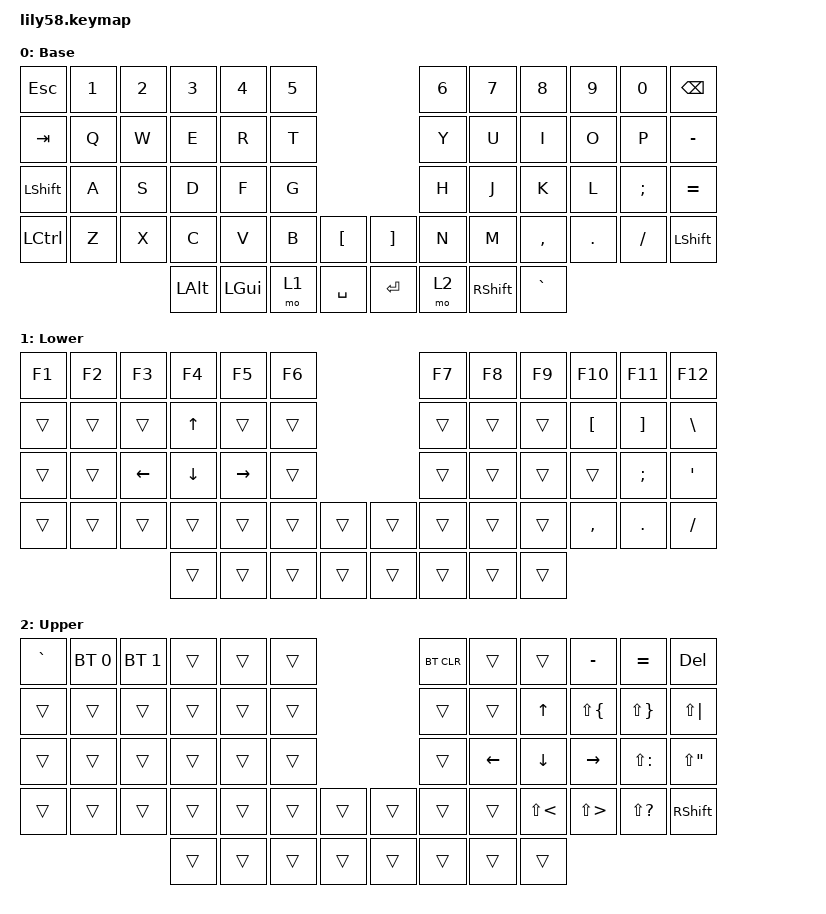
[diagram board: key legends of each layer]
/*
 * Copyright (c) 2020 The ZMK Contributors
 *
 * SPDX-License-Identifier: MIT
 */

#include <behaviors.dtsi>
#include <dt-bindings/zmk/bt.h>
#include <dt-bindings/zmk/keys.h>

/ {
    keymap {
        compatible = "zmk,keymap";

        default_layer {
            // ------------------------------------------------------------------------------------------------------------
            // |  ESC  |  1  |  2  |  3   |  4   |  5   |                   |  6   |  7    |  8    |  9   |   0   |   `   |
            // |  TAB  |  Q  |  W  |  E   |  R   |  T   |                   |  Y   |  U    |  I    |  O   |   P   |   -   |
            // |  CTRL |  A  |  S  |  D   |  F   |  G   |                   |  H   |  J    |  K    |  L   |   ;   |   '   |
            // | SHIFT |  Z  |  X  |  C   |  V   |  B   |   "["  |  |  "]"  |  N   |  M    |  ,    |  .   |   /   | SHIFT |
            //                     | ALT  | GUI  | LOWER|  SPACE |  | ENTER | RAISE| BSPC  | GUI   |

            display-name = "Base";
            bindings = <
&kp ESC     &kp N1  &kp N2  &kp N3    &kp N4    &kp N5                          &kp N6  &kp N7      &kp N8     &kp N9   &kp N0    &kp BACKSPACE
&kp TAB     &kp Q   &kp W   &kp E     &kp R     &kp T                           &kp Y   &kp U       &kp I      &kp O    &kp P     &kp MINUS
&kp LSHIFT  &kp A   &kp S   &kp D     &kp F     &kp G                           &kp H   &kp J       &kp K      &kp L    &kp SEMI  &kp EQUAL
&kp LCTRL   &kp Z   &kp X   &kp C     &kp V     &kp B   &kp LBKT     &kp RBKT   &kp N   &kp M       &kp COMMA  &kp DOT  &kp FSLH  &kp LSHIFT
                            &kp LALT  &kp LGUI  &mo 1   &kp SPACE    &kp ENTER  &mo 2   &kp RSHIFT  &kp GRAVE
            >;
        };

        lower_layer {
            // ------------------------------------------------------------------------------------------------------------
            // | BTCLR | BT1 | BT2 |  BT3 |  BT4 |  BT5 |                   |      |       |       |      |       |       |
            // |  F1   |  F2 |  F3 |  F4  |  F5  |  F6  |                   |  F7  |  F8   |  F9   |  F10 |  F11  |  F12  |
            // |   `   |  !  |  @  |  #   |  $   |  %   |                   |  ^   |  &    |  *    |  (   |   )   |   ~   |
            // |       |     |     |      |      |      |        |  |       |      |  _    |  +    |  {   |   }   |  "|"  |
            //                     |      |      |      |        |  |       |      |       |       |

            display-name = "Lower";
            bindings = <
&kp F1  &kp F2  &kp F3          &kp F4          &kp F5     &kp F6                    &kp F7  &kp F8  &kp F9  &kp F10    &kp F11   &kp F12
&trans  &trans  &trans          &kp UP_ARROW    &trans     &trans                    &trans  &trans  &trans  &kp LBKT   &kp RBKT  &kp BSLH
&trans  &trans  &kp LEFT_ARROW  &kp DOWN_ARROW  &kp RIGHT  &trans                    &trans  &trans  &trans  &trans     &kp SEMI  &kp SQT
&trans  &trans  &trans          &trans          &trans     &trans  &trans    &trans  &trans  &trans  &trans  &kp COMMA  &kp DOT   &kp FSLH
                                &trans          &trans     &trans  &trans    &trans  &trans  &trans  &trans
            >;
        };

        upper_layer {
            bindings = <
&kp GRAVE  &bt BT_SEL 0  &bt BT_SEL 1  &trans  &trans  &trans                    &bt BT_CLR  &trans          &trans          &kp MINUS        &kp EQUAL      &kp DELETE
&trans     &trans        &trans        &trans  &trans  &trans                    &trans      &trans          &kp UP_ARROW    &kp LS(LBRC)     &kp LS(RBRC)   &kp LS(PIPE)
&trans     &trans        &trans        &trans  &trans  &trans                    &trans      &kp LEFT_ARROW  &kp DOWN_ARROW  &kp RIGHT_ARROW  &kp LS(COLON)  &kp LS(DQT)
&trans     &trans        &trans        &trans  &trans  &trans  &trans    &trans  &trans      &trans          &kp LS(LT)      &kp LS(GT)       &kp LS(QMARK)  &kp RSHFT
                                       &trans  &trans  &trans  &trans    &trans  &trans      &trans          &trans
            >;

            label = "Upper";
        };
    };
};
